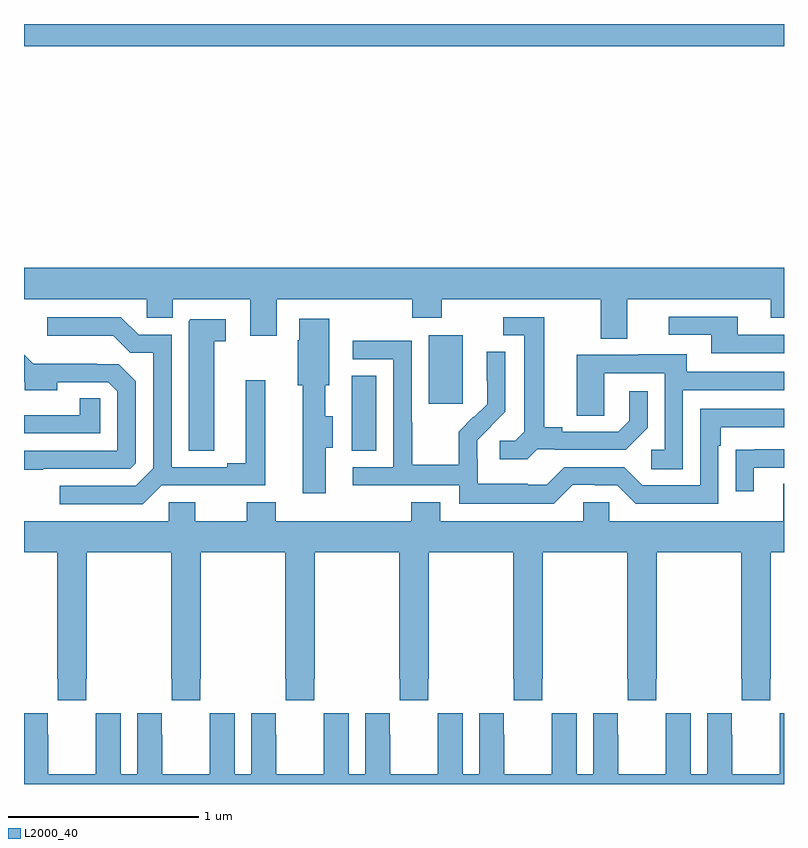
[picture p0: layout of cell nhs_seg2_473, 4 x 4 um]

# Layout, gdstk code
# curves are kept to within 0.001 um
import gdstk
lib = gdstk.Library(unit=1e-6, precision=1e-09)
def R(c, l, rs):  # rectangles x0, y0, x1, y1
    for r in rs: c.add(gdstk.rectangle(r[:2], r[2:], *l))
def P(c, l, *ps):  # polygons
    for p in ps: c.add(gdstk.Polygon(p, *l))
L2000_40 = (2000, 40)

nhs_seg2_473 = lib.new_cell('nhs_seg2_473')
R(nhs_seg2_473, L2000_40, [(136.724,597.553,136.855,597.95), (137.129,597.801,137.308,598.162), (135,599.684,139,599.8)])
P(nhs_seg2_473, L2000_40, [(138.175,598.352),(138.929,598.352),(138.929,598.253),(139,598.253),(139,598.516),(135,598.516),(135,598.352),(135.645,598.352),(135.645,598.254),(135.784,598.254),(135.784,598.352),(136.19,598.352),(136.19,598.158),(136.33,598.158),(136.33,598.352),(137.044,598.352),(137.044,598.253),(137.199,598.253),(137.199,598.352),(138.035,598.352),(138.035,598.144),(138.175,598.144)],
  [(139,598.164),(138.757,598.164),(138.757,598.26),(138.393,598.26),(138.393,598.164),(138.617,598.164),(138.617,598.068),(139,598.068)],
  [(137.7,597.561),(137.794,597.561),(137.794,597.558),(138.166,597.558),(138.282,597.674),(138.282,597.868),(138.185,597.868),(138.185,597.711),(138.128,597.654),(137.833,597.654),(137.833,597.677),(137.737,597.677),(137.737,598.257),(137.523,598.257),(137.523,598.161),(137.633,598.161),(137.633,597.653),(137.586,597.606),(137.505,597.606),(137.505,597.509),(137.648,597.509)],
  [(135.724,597.372),(136.27,597.372),(136.27,597.925),(136.166,597.925),(136.166,597.488),(136.07,597.488),(136.07,597.468),(135.777,597.468),(135.777,598.164),(135.603,598.164),(135.51,598.257),(135.123,598.257),(135.123,598.16),(135.469,598.16),(135.56,598.069),(135.681,598.069),(135.681,597.462),(135.588,597.369),(135.189,597.369),(135.189,597.273),(135.625,597.273)],
  [(136.588,597.571),(136.624,597.571),(136.624,597.736),(136.585,597.736),(136.585,597.9),(136.606,597.9),(136.606,598.249),(136.448,598.249),(136.448,598.136),(136.441,598.136),(136.441,597.9),(136.466,597.9),(136.466,597.33),(136.588,597.33)],
  [(136,598.129),(136.063,598.129),(136.063,598.245),(135.876,598.245),(135.866,598.235),(135.866,597.553),(136,597.553)],
  [(137.889,597.375),(138.005,597.375),(138.005,597.372),(138.123,597.372),(138.219,597.276),(138.654,597.276),(138.654,597.581),(138.667,597.581),(138.667,597.678),(139,597.678),(139,597.774),(138.558,597.774),(138.558,597.372),(138.255,597.372),(138.159,597.468),(137.844,597.468),(137.751,597.375),(137.651,597.375),(137.651,597.379),(137.388,597.379),(137.388,597.513),(137.386,597.513),(137.386,597.61),(137.532,597.758),(137.532,598.076),(137.436,598.076),(137.436,597.922),(137.438,597.922),(137.438,597.8),(137.367,597.729),(137.364,597.732),(137.287,597.655),(137.287,597.481),(137.043,597.481),(137.043,597.704),(137.04,597.704),(137.04,598.134),(136.731,598.134),(136.731,598.035),(136.944,598.035),(136.944,597.468),(136.731,597.468),(136.731,597.372),(137.292,597.372),(137.292,597.275),(137.789,597.275)],
  [(138.468,597.873),(139,597.873),(139,597.969),(138.487,597.969),(138.487,598.063),(138.233,598.063),(138.233,598.059),(137.909,598.059),(137.909,597.739),(138.054,597.739),(138.054,597.963),(138.372,597.963),(138.372,597.558),(138.3,597.558),(138.3,597.457),(138.468,597.457)],
  [(135.101,597.459),(135.558,597.459),(135.588,597.489),(135.588,597.921),(135.499,598.01),(135.383,598.01),(135.383,598.012),(135.049,598.012),(135,598.06),(135,597.916),(135.004,597.912),(135.004,597.872),(135.175,597.872),(135.175,597.915),(135.444,597.915),(135.492,597.867),(135.492,597.555),(135,597.555),(135,597.454),(135.101,597.454)],
  [(135.402,597.83),(135.294,597.83),(135.294,597.742),(135.039,597.742),(135.039,597.741),(135,597.741),(135,597.645),(135.402,597.645)],
  [(138.841,597.465),(139,597.465),(139,597.561),(138.847,597.561),(138.847,597.56),(138.745,597.56),(138.745,597.342),(138.841,597.342)],
  [(135.327,596.353),(135.33,596.353),(135.33,597.02),(135.775,597.02),(135.775,596.353),(135.777,596.353),(135.777,596.241),(135.927,596.241),(135.927,596.353),(135.93,596.353),(135.93,597.02),(136.375,597.02),(136.375,596.353),(136.377,596.353),(136.377,596.241),(136.527,596.241),(136.527,596.353),(136.53,596.353),(136.53,597.02),(136.975,597.02),(136.975,596.353),(136.977,596.353),(136.977,596.241),(137.127,596.241),(137.127,596.353),(137.13,596.353),(137.13,597.02),(137.575,597.02),(137.575,596.353),(137.577,596.353),(137.577,596.241),(137.727,596.241),(137.727,596.353),(137.73,596.353),(137.73,597.02),(138.175,597.02),(138.175,596.353),(138.177,596.353),(138.177,596.241),(138.327,596.241),(138.327,596.353),(138.33,596.353),(138.33,597.02),(138.775,597.02),(138.775,596.353),(138.777,596.353),(138.777,596.241),(138.927,596.241),(138.927,596.353),(138.93,596.353),(138.93,597.02),(139,597.02),(139,597.379),(138.995,597.379),(138.995,597.184),(138.081,597.184),(138.081,597.282),(137.943,597.282),(137.943,597.184),(137.191,597.184),(137.191,597.283),(137.039,597.283),(137.039,597.184),(136.325,597.184),(136.325,597.283),(136.172,597.283),(136.172,597.184),(135.901,597.184),(135.901,597.282),(135.762,597.282),(135.762,597.184),(135,597.184),(135,597.02),(135.175,597.02),(135.175,596.353),(135.177,596.353),(135.177,596.241),(135.327,596.241)],
  [(139,596.173),(138.978,596.173),(138.978,596.06),(138.977,596.06),(138.977,595.852),(138.727,595.852),(138.727,596.06),(138.726,596.06),(138.726,596.173),(138.596,596.173),(138.596,595.852),(138.508,595.852),(138.508,596.173),(138.378,596.173),(138.378,596.06),(138.377,596.06),(138.377,595.852),(138.127,595.852),(138.127,596.06),(138.126,596.06),(138.126,596.173),(137.996,596.173),(137.996,595.852),(137.908,595.852),(137.908,596.173),(137.778,596.173),(137.778,596.06),(137.777,596.06),(137.777,595.852),(137.527,595.852),(137.527,596.06),(137.526,596.06),(137.526,596.173),(137.396,596.173),(137.396,595.852),(137.308,595.852),(137.308,596.173),(137.178,596.173),(137.178,596.06),(137.177,596.06),(137.177,595.852),(136.927,595.852),(136.927,596.06),(136.926,596.06),(136.926,596.173),(136.796,596.173),(136.796,595.852),(136.708,595.852),(136.708,596.173),(136.578,596.173),(136.578,596.06),(136.577,596.06),(136.577,595.852),(136.327,595.852),(136.327,596.06),(136.326,596.06),(136.326,596.173),(136.196,596.173),(136.196,595.852),(136.108,595.852),(136.108,596.173),(135.978,596.173),(135.978,596.06),(135.977,596.06),(135.977,595.852),(135.727,595.852),(135.727,596.06),(135.726,596.06),(135.726,596.173),(135.596,596.173),(135.596,595.852),(135.508,595.852),(135.508,596.173),(135.378,596.173),(135.378,596.06),(135.377,596.06),(135.377,595.852),(135.127,595.852),(135.127,596.06),(135.126,596.06),(135.126,596.173),(135,596.173),(135,595.8),(139,595.8)])

lib.write_gds('nhs_seg2_473.gds')
